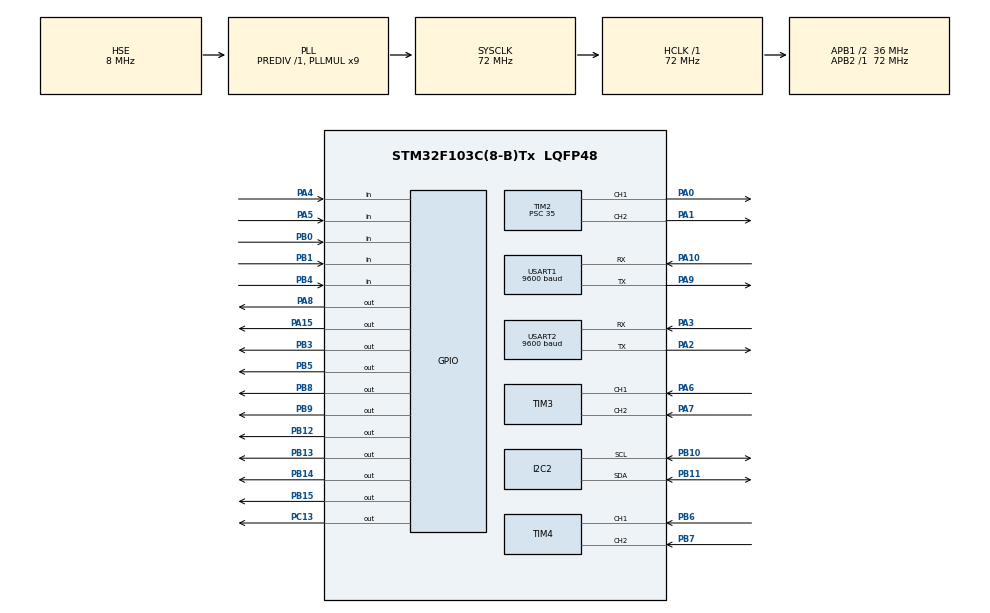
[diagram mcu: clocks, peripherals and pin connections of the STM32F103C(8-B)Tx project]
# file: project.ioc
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Mcu.Family=STM32F1
Mcu.Name=STM32F103C(8-B)Tx
Mcu.Package=LQFP48
NVIC.PriorityGroup=NVIC_PRIORITYGROUP_2
NVIC.TIM1_UP_IRQn=true\:2\:1\:true\:false\:true\:true\:true\:true
NVIC.USART2_IRQn=true\:1\:1\:true\:false\:true\:true\:true\:true
PA0-WKUP.Signal=S_TIM2_CH1_ETR
PA1.Signal=S_TIM2_CH2
PA10.Mode=Asynchronous
PA10.Signal=USART1_RX
PA13.Mode=Serial_Wire
PA13.Signal=SYS_JTMS-SWDIO
PA14.Mode=Serial_Wire
PA14.Signal=SYS_JTCK-SWCLK
PA15.PinState=GPIO_PIN_SET
PA15.Signal=GPIO_Output
PA2.Mode=Asynchronous
PA2.Signal=USART2_TX
PA3.Mode=Asynchronous
PA3.Signal=USART2_RX
PA4.GPIO_PuPd=GPIO_PULLUP
PA4.Signal=GPIO_Input
PA5.GPIO_PuPd=GPIO_PULLUP
PA5.Signal=GPIO_Input
PA6.Signal=S_TIM3_CH1
PA7.Signal=S_TIM3_CH2
PA8.GPIO_Speed=GPIO_SPEED_FREQ_HIGH
PA8.PinState=GPIO_PIN_RESET
PA8.Signal=GPIO_Output
PA9.Mode=Asynchronous
PA9.Signal=USART1_TX
PB0.GPIO_PuPd=GPIO_PULLUP
PB0.Signal=GPIO_Input
PB1.GPIO_PuPd=GPIO_PULLUP
PB1.Signal=GPIO_Input
PB10.Mode=I2C
PB10.Signal=I2C2_SCL
PB11.Mode=I2C
PB11.Signal=I2C2_SDA
PB12.GPIO_Speed=GPIO_SPEED_FREQ_HIGH
PB12.Signal=GPIO_Output
PB13.GPIO_Speed=GPIO_SPEED_FREQ_HIGH
PB13.Signal=GPIO_Output
PB14.GPIO_Speed=GPIO_SPEED_FREQ_HIGH
PB14.Signal=GPIO_Output
PB15.GPIO_Speed=GPIO_SPEED_FREQ_HIGH
PB15.Signal=GPIO_Output
PB3.GPIO_Speed=GPIO_SPEED_FREQ_HIGH
PB3.PinState=GPIO_PIN_RESET
PB3.Signal=GPIO_Output
PB4.GPIO_Mode=GPIO_MODE_INPUT
PB4.Signal=GPIO_Input
PB5.GPIO_Speed=GPIO_SPEED_FREQ_HIGH
PB5.PinState=GPIO_PIN_RESET
PB5.Signal=GPIO_Output
PB6.Signal=S_TIM4_CH1
PB7.Signal=S_TIM4_CH2
PB8.GPIO_ModeDefaultOutputPP=GPIO_MODE_OUTPUT_OD
PB8.GPIO_PuPd=GPIO_NOPULL
PB8.GPIO_Speed=GPIO_SPEED_FREQ_HIGH
PB8.PinState=GPIO_PIN_SET
PB8.Signal=GPIO_Output
PB9.GPIO_ModeDefaultOutputPP=GPIO_MODE_OUTPUT_OD
PB9.GPIO_PuPd=GPIO_NOPULL
PB9.GPIO_Speed=GPIO_SPEED_FREQ_HIGH
PB9.PinState=GPIO_PIN_SET
PB9.Signal=GPIO_Output
PC13-TAMPER-RTC.GPIO_Speed=GPIO_SPEED_FREQ_HIGH
PC13-TAMPER-RTC.PinState=GPIO_PIN_SET
PC13-TAMPER-RTC.Signal=GPIO_Output
PD0-OSC_IN.Mode=HSE-External-Oscillator
PD0-OSC_IN.Signal=RCC_OSC_IN
PD1-OSC_OUT.Mode=HSE-External-Oscillator
PD1-OSC_OUT.Signal=RCC_OSC_OUT
ProjectManager.HeapSize=0x200
ProjectManager.StackSize=0x400
ProjectManager.TargetToolchain=MDK-ARM V5.32
RCC.AHBFreq_Value=72000000
RCC.APB1CLKDivider=RCC_HCLK_DIV2
RCC.APB1Freq_Value=36000000
RCC.APB1TimFreq_Value=72000000
RCC.APB2Freq_Value=72000000
RCC.APB2TimFreq_Value=72000000
RCC.HCLKFreq_Value=72000000
RCC.PLLMUL=RCC_PLL_MUL9
RCC.PLLSourceVirtual=RCC_PLLSOURCE_HSE
RCC.SYSCLKFreq_VALUE=72000000
RCC.SYSCLKSource=RCC_SYSCLKSOURCE_PLLCLK
RCC.USBFreq_Value=72000000
SH.S_TIM2_CH1_ETR.0=TIM2_CH1,PWM Generation1 CH1
SH.S_TIM2_CH2.0=TIM2_CH2,PWM Generation2 CH2
SH.S_TIM3_CH1.0=TIM3_CH1,Encoder_Interface
SH.S_TIM3_CH2.0=TIM3_CH2,Encoder_Interface
SH.S_TIM4_CH1.0=TIM4_CH1,Encoder_Interface
SH.S_TIM4_CH2.0=TIM4_CH2,Encoder_Interface
TIM1.Period=999
TIM1.Prescaler=71
TIM2.Channel-PWM\ Generation1\ CH1=TIM_CHANNEL_1
TIM2.Channel-PWM\ Generation2\ CH2=TIM_CHANNEL_2
TIM2.Period=99
TIM2.Prescaler=35
TIM3.EncoderMode=TIM_ENCODERMODE_TI12
TIM3.IC1Filter=15
TIM3.IC2Filter=15
TIM4.EncoderMode=TIM_ENCODERMODE_TI12
TIM4.IC1Filter=15
TIM4.IC2Filter=15
TIM4.IC2Polarity=TIM_ICPOLARITY_FALLING
USART1.BaudRate=9600
USART1.VirtualMode=VM_ASYNC
USART2.BaudRate=9600
USART2.VirtualMode=VM_ASYNC
VP_TIM1_VS_ClockSourceINT.Mode=Internal
board=custom

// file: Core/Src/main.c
/* USER CODE BEGIN Header */
/**
  ******************************************************************************
  * @file           : main.c
  * @brief          : 平衡车 - 主程序 (精简版)
  *
  * 架构说明:
  *   - 初始化: HAL -> 时钟 -> 外设 -> OLED/MPU6050 -> Balance
  *   - 主循环: 读 MPU6050 -> 同步到 Balance -> OLED 显示 -> 遥控待扩展
  *   - 实时控制: TIM1 1ms 中断 -> Balance_TimerCallback() -> PID + 电机
  ******************************************************************************
  */
/* USER CODE END Header */
#include "main.h"
#include "i2c.h"
#include "tim.h"
#include "usart.h"
#include "gpio.h"

/* USER CODE BEGIN Includes */
#include "OLED.h"
#include "MPU6050.h"
#include "Encoder.h"
#include "Store.h"
#include "PID.h"
#include "Motor.h"
#include "Serial.h"
#include "BlueSerial.h"
#include "balance.h"
#include "DebugMode.h"
#include "Key.h"
#include "stdio.h"
#include <string.h>
#include <math.h>
/* USER CODE END Includes */

void SystemClock_Config(void);

int main(void)
{

  /* MCU Configuration--------------------------------------------------------*/

  /* Reset of all peripherals, Initializes the Flash interface and the Systick. */
  HAL_Init();

  /* Configure the system clock */
  SystemClock_Config();

  /* Initialize all configured peripherals */
  MX_GPIO_Init();
  MX_TIM2_Init();
  MX_TIM3_Init();
  MX_TIM4_Init();
  MX_USART2_UART_Init();
  MX_I2C2_Init();
  MX_USART1_UART_Init();
  MX_TIM1_Init();
  /* USER CODE BEGIN 2 */
  OLED_Init();
	MPU6050_Init(&hi2c2);
	Key_Init();
	Balance_Init();
	BlueSerial_Init();

  OLED_Clear();
  OLED_ShowString(1, 1, "Balance Car");
  OLED_ShowString(2, 1, "Init MPU6050...");
	HAL_Delay(500);

	OLED_Clear();
  OLED_ShowString(1, 1, "Balance Ready");
  Serial_Printf("System Ready\r\n");
	HAL_Delay(500);
	OLED_Clear();

  /* USER CODE END 2 */

  /* Infinite loop */
  while (1)
  {

		{
        static uint32_t last_bt = 0;
        uint32_t now = HAL_GetTick();
        if (now - last_bt >= 100) {
            last_bt = now;
            BlueSerial_Printf("[D,%.1f,%d,%d,%d]\r\n",
                Angle,                // 当前倾角
                PWML, PWMR,                  // 左右轮PWM
                RunFlag);                    // 运行状态
        }
    }

			if (Key_Check(KEY_1, KEY_SINGLE))		//K1按下，启动/停止
			{
				if (RunFlag == 0)
				{
					PID_Init(&AnglePID);
					PID_Init(&SpeedPID);
					PID_Init(&TurnPID);
					Angle = AngleAcc_Filter;
					RunFlag = 1;
				}
				else
				{
					RunFlag = 0;
				}
				if (RunFlagUpdate)
				{
					RunFlagUpdate = 0;
				}
			}
		if (Key_Check(KEY_4, KEY_SINGLE))		//K4按下，进入调试模式
		{
			DebugFlag = 1;
			RunFlag = 0;
			Motor_SetPWM(1, 0);
			Motor_SetPWM(2, 0);
			Key_Clear();
			OLED_Clear ();
			DebugMode();	//执行调试模式函数
		}
    /* USER CODE BEGIN 3 */
    float pitch =Angle;

    OLED_ShowString(1, 1, "pitch:");
    OLED_ShowFloat(1, 7, pitch, 3, 2);
    OLED_ShowString(3, 1, "Run:");
    OLED_ShowString(3, 6, RunFlag ? "ON " : "OFF");
    OLED_ShowString(4, 1, "PWM:");
    OLED_ShowFloat(4, 6, (float)PWML, 1, 0);
    OLED_ShowString(4, 11, "/");
    OLED_ShowFloat(4, 12, (float)PWMR, 1, 0);

		/*蓝牙串口*/
		if (BlueSerial_ReceiveFlag())	//判断是否收到蓝牙数据包
		{
			BlueSerial_Receive();		//收到数据包，接收并解析数据包

			/*摇杆数据包，格式为：[joystick,LH,LV,RH,RV]*/
			if (strcmp(BlueSerial_StringArray[0], "joystick") == 0)
			{
				/*得到摇杆数据，转换为数值*/
				int8_t LH = atoi(BlueSerial_StringArray[1]);
				int8_t LV = atoi(BlueSerial_StringArray[2]);
				int8_t RH = atoi(BlueSerial_StringArray[3]);
				int8_t RV = atoi(BlueSerial_StringArray[4]);

				/*设定目标速度和目标转向幅度*/
				SpeedPID.Target = LV / 100.0 * SpeedLevel;
				TurnPID.Target = RH / 100.0 * SpeedLevel;
			}
			/*按键数据包，格式为：[key,按键名称,down/up]*/
			else if (strcmp(BlueSerial_StringArray[0], "key") == 0)
			{
				if (strcmp(BlueSerial_StringArray[1], "1") == 0
				 && strcmp(BlueSerial_StringArray[2], "up") == 0)		//收到数据包[key,1,up]
				{
					Key_Flag[KEY_1] |= KEY_SINGLE;		//触发平衡车K1键按下
				}
				else if (strcmp(BlueSerial_StringArray[1], "2") == 0
					  && strcmp(BlueSerial_StringArray[2], "up") == 0)	//收到数据包[key,2,up]
				{
					decelerate();
				}
				else if (strcmp(BlueSerial_StringArray[1], "3") == 0
					  && strcmp(BlueSerial_StringArray[2], "up") == 0)	//收到数据包[key,3,up]
				{
					accelerate();
				}
			}
		}
  /* USER CODE END 3 */
	}
}

void SystemClock_Config(void)
{
  RCC_OscInitTypeDef RCC_OscInitStruct = {0};
  RCC_ClkInitTypeDef RCC_ClkInitStruct = {0};

  /** Initializes the RCC Oscillators according to the specified parameters
  * in the RCC_OscInitTypeDef structure.
  */
  RCC_OscInitStruct.OscillatorType = RCC_OSCILLATORTYPE_HSE;
  RCC_OscInitStruct.HSEState = RCC_HSE_ON;
  RCC_OscInitStruct.HSEPredivValue = RCC_HSE_PREDIV_DIV1;
  RCC_OscInitStruct.HSIState = RCC_HSI_ON;
  RCC_OscInitStruct.PLL.PLLState = RCC_PLL_ON;
  RCC_OscInitStruct.PLL.PLLSource = RCC_PLLSOURCE_HSE;
  RCC_OscInitStruct.PLL.PLLMUL = RCC_PLL_MUL9;
  if (HAL_RCC_OscConfig(&RCC_OscInitStruct) != HAL_OK)
  {
    Error_Handler();
  }

  /** Initializes the CPU, AHB and APB buses clocks
  */
  RCC_ClkInitStruct.ClockType = RCC_CLOCKTYPE_HCLK|RCC_CLOCKTYPE_SYSCLK
                              |RCC_CLOCKTYPE_PCLK1|RCC_CLOCKTYPE_PCLK2;
  RCC_ClkInitStruct.SYSCLKSource = RCC_SYSCLKSOURCE_PLLCLK;
  RCC_ClkInitStruct.AHBCLKDivider = RCC_SYSCLK_DIV1;
  RCC_ClkInitStruct.APB1CLKDivider = RCC_HCLK_DIV2;
  RCC_ClkInitStruct.APB2CLKDivider = RCC_HCLK_DIV1;

  if (HAL_RCC_ClockConfig(&RCC_ClkInitStruct, FLASH_LATENCY_2) != HAL_OK)
  {
    Error_Handler();
  }
}

/* USER CODE BEGIN 4 */
/* 注: HAL_TIM_PeriodElapsedCallback 定义在 balance.c 中,
       不要在此处重复定义 */
/* USER CODE END 4 */

void Error_Handler(void)
{
  __disable_irq();
  while (1)
  {
  }
}
